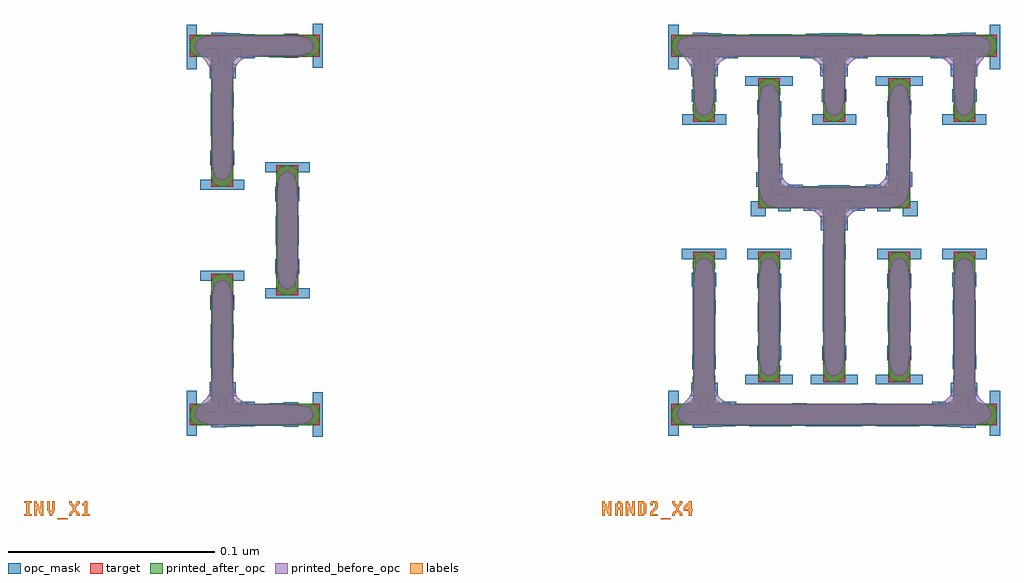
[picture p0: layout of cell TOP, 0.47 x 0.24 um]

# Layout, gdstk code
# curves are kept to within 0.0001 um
import gdstk
lib = gdstk.Library(unit=1e-6, precision=1e-10)
def R(c, l, rs):  # rectangles x0, y0, x1, y1
    for r in rs: c.add(gdstk.rectangle(r[:2], r[2:], *l))
def P(c, l, *ps):  # polygons
    for p in ps: c.add(gdstk.Polygon(p, *l))
target = (1, 0)
opc_mask = (2, 0)
printed_before_opc = (3, 0)
printed_after_opc = (4, 0)
labels = (10, 0)

inv_x1 = lib.new_cell('INV_X1')
R(inv_x1, target, [(0.042,0.063,0.0525,0.126)])
P(inv_x1, target, [(0.021,0.1785),(0.063,0.1785),(0.063,0.189),(0,0.189),(0,0.1785),(0.0105,0.1785),(0.0105,0.1155),(0.021,0.1155)],
  [(0.063,0.0105),(0.021,0.0105),(0.021,0.0735),(0.0105,0.0735),(0.0105,0.0105),(0,0.0105),(0,0),(0.063,0)])
P(inv_x1, opc_mask, [(0.0265,0.119),(0.0201,0.119),(0.0201,0.126),(0.0216,0.126),(0.0216,0.133),(0.0211,0.133),(0.0211,0.14),(0.0213,0.14),(0.0213,0.147),(0.0212,0.147),(0.0212,0.154),(0.0214,0.154),(0.0214,0.161),(0.0209,0.161),(0.0209,0.168),(0.0222,0.168),(0.0222,0.175),(0.0179,0.175),(0.0179,0.182),(0.0245,0.182),(0.0245,0.1776),(0.0315,0.1776),(0.0315,0.1785),(0.0385,0.1785),(0.0385,0.1783),(0.0455,0.1783),(0.0455,0.1779),(0.0525,0.1779),(0.0525,0.1794),(0.0595,0.1794),(0.0595,0.173),(0.0644,0.173),(0.0644,0.1945),(0.0595,0.1945),(0.0595,0.1881),(0.0525,0.1881),(0.0525,0.1896),(0.0455,0.1896),(0.0455,0.1891),(0.0385,0.1891),(0.0385,0.1892),(0.0315,0.1892),(0.0315,0.1893),(0.0245,0.1893),(0.0245,0.1897),(0.0175,0.1897),(0.0175,0.19),(0.0105,0.19),(0.0105,0.1886),(0.0035,0.1886),(0.0035,0.194),(-0.0015,0.194),(-0.0015,0.1723),(0.0035,0.1723),(0.0035,0.1794),(0.007,0.1794),(0.007,0.182),(0.0137,0.182),(0.0137,0.175),(0.0097,0.175),(0.0097,0.168),(0.0105,0.168),(0.0105,0.161),(0.0102,0.161),(0.0102,0.154),(0.0103,0.154),(0.0103,0.147),(0.0102,0.147),(0.0102,0.14),(0.0104,0.14),(0.0104,0.133),(0.0099,0.133),(0.0099,0.126),(0.0114,0.126),(0.0114,0.119),(0.005,0.119),(0.005,0.1141),(0.0265,0.1141)],
  [(0.058,0.0665),(0.0516,0.0665),(0.0516,0.0735),(0.0531,0.0735),(0.0531,0.0805),(0.0526,0.0805),(0.0526,0.0875),(0.0528,0.0875),(0.0528,0.1015),(0.0526,0.1015),(0.0526,0.1085),(0.0531,0.1085),(0.0531,0.1155),(0.0516,0.1155),(0.0516,0.1225),(0.058,0.1225),(0.058,0.1274),(0.0365,0.1274),(0.0365,0.1225),(0.0429,0.1225),(0.0429,0.1155),(0.0414,0.1155),(0.0414,0.1085),(0.0419,0.1085),(0.0419,0.1015),(0.0417,0.1015),(0.0417,0.0875),(0.0419,0.0875),(0.0419,0.0805),(0.0414,0.0805),(0.0414,0.0735),(0.0429,0.0735),(0.0429,0.0665),(0.0365,0.0665),(0.0365,0.0616),(0.058,0.0616)],
  [(0.0644,0.016),(0.0595,0.016),(0.0595,0.0096),(0.0525,0.0096),(0.0525,0.0111),(0.0455,0.0111),(0.0455,0.0107),(0.0385,0.0107),(0.0385,0.0105),(0.0315,0.0105),(0.0315,0.0114),(0.0245,0.0114),(0.0245,0.007),(0.0179,0.007),(0.0179,0.014),(0.0222,0.014),(0.0222,0.021),(0.0209,0.021),(0.0209,0.028),(0.0214,0.028),(0.0214,0.035),(0.0212,0.035),(0.0212,0.042),(0.0213,0.042),(0.0213,0.049),(0.0211,0.049),(0.0211,0.056),(0.0216,0.056),(0.0216,0.063),(0.0201,0.063),(0.0201,0.07),(0.0265,0.07),(0.0265,0.0749),(0.005,0.0749),(0.005,0.07),(0.0114,0.07),(0.0114,0.063),(0.0099,0.063),(0.0099,0.056),(0.0104,0.056),(0.0104,0.049),(0.0102,0.049),(0.0102,0.042),(0.0103,0.042),(0.0103,0.035),(0.0102,0.035),(0.0102,0.028),(0.0105,0.028),(0.0105,0.021),(0.0097,0.021),(0.0097,0.014),(0.0137,0.014),(0.0137,0.007),(0.007,0.007),(0.007,0.0096),(0.0035,0.0096),(0.0035,0.0167),(-0.0015,0.0167),(-0.0015,-0.005),(0.0035,-0.005),(0.0035,0.0004),(0.0105,0.0004),(0.0105,-0.001),(0.0175,-0.001),(0.0175,-0.0007),(0.0245,-0.0007),(0.0245,-0.0003),(0.0315,-0.0003),(0.0315,-0.0002),(0.0385,-0.0002),(0.0385,-0.0001),(0.0455,-0.0001),(0.0455,-0.0006),(0.0525,-0.0006),(0.0525,0.0009),(0.0595,0.0009),(0.0595,-0.0055),(0.0644,-0.0055)])
P(inv_x1, printed_before_opc, [(0.0172,0.1189),(0.0182,0.1196),(0.0192,0.1208),(0.0197,0.1219),(0.0204,0.1247),(0.0207,0.1302),(0.0208,0.1672),(0.021,0.1697),(0.022,0.1732),(0.0237,0.1757),(0.0257,0.1773),(0.0277,0.1781),(0.0297,0.1785),(0.0342,0.1788),(0.0532,0.179),(0.0567,0.1798),(0.0577,0.1802),(0.0589,0.1812),(0.0593,0.1817),(0.0599,0.1832),(0.0598,0.1847),(0.0593,0.1857),(0.0587,0.1864),(0.0577,0.1872),(0.0557,0.188),(0.0517,0.1886),(0.0142,0.1889),(0.0107,0.1887),(0.0072,0.1882),(0.0051,0.1872),(0.0044,0.1867),(0.0032,0.1852),(0.0028,0.1837),(0.0029,0.1827),(0.0034,0.1812),(0.0045,0.1797),(0.0072,0.1769),(0.0085,0.1752),(0.0096,0.1732),(0.0103,0.1707),(0.0108,0.1647),(0.0108,0.1312),(0.011,0.1257),(0.0115,0.1227),(0.0123,0.1207),(0.0136,0.1192),(0.0152,0.1186),(0.0162,0.1186)],
  [(0.0482,0.0662),(0.0497,0.0671),(0.051,0.0687),(0.0515,0.0702),(0.052,0.0737),(0.0522,0.0767),(0.0522,0.1097),(0.052,0.1157),(0.0512,0.1197),(0.0502,0.1214),(0.0492,0.1223),(0.0482,0.1228),(0.0467,0.1229),(0.0457,0.1226),(0.0447,0.1219),(0.0437,0.1207),(0.0431,0.1192),(0.0425,0.1152),(0.0423,0.1122),(0.0423,0.0787),(0.0425,0.0727),(0.0431,0.0697),(0.0435,0.0687),(0.0441,0.0677),(0.0457,0.0664),(0.0472,0.066)],
  [(0.0297,0.0003),(0.0507,0.0004),(0.0547,0.0008),(0.0566,0.0012),(0.0584,0.0022),(0.0596,0.0037),(0.0599,0.0047),(0.0599,0.0057),(0.0596,0.0067),(0.0584,0.0082),(0.0566,0.0092),(0.0552,0.0096),(0.0512,0.0101),(0.0342,0.0102),(0.0292,0.0106),(0.0272,0.0111),(0.0252,0.012),(0.0242,0.0127),(0.0232,0.0137),(0.0225,0.0147),(0.0213,0.0177),(0.0208,0.0222),(0.0207,0.0582),(0.0205,0.0637),(0.0197,0.0672),(0.0187,0.0689),(0.0177,0.0698),(0.0167,0.0703),(0.0157,0.0705),(0.0147,0.0703),(0.0132,0.0694),(0.012,0.0677),(0.0116,0.0667),(0.011,0.0627),(0.0108,0.0597),(0.0108,0.0257),(0.0107,0.0222),(0.0103,0.0182),(0.0094,0.0152),(0.0082,0.0132),(0.0074,0.0122),(0.0042,0.009),(0.0037,0.0082),(0.0029,0.0062),(0.0028,0.0052),(0.003,0.0042),(0.0035,0.0032),(0.0042,0.0024),(0.0051,0.0017),(0.0072,0.0008),(0.0097,0.0004),(0.0137,0.0001)])
P(inv_x1, printed_after_opc, [(0.0167,0.1156),(0.0188,0.1162),(0.0195,0.1167),(0.0202,0.1176),(0.0207,0.1186),(0.021,0.1197),(0.0211,0.1212),(0.0209,0.1262),(0.0211,0.1682),(0.0209,0.1737),(0.0211,0.1752),(0.0217,0.1767),(0.0222,0.1773),(0.0232,0.1779),(0.0262,0.1785),(0.0522,0.1786),(0.0577,0.1784),(0.0597,0.1787),(0.0607,0.1791),(0.0617,0.18),(0.0622,0.1807),(0.0628,0.1822),(0.063,0.1837),(0.0625,0.1862),(0.0617,0.1875),(0.0607,0.1884),(0.0597,0.1888),(0.0577,0.1891),(0.0522,0.1889),(0.0172,0.1891),(0.0107,0.1889),(0.0052,0.1891),(0.0037,0.189),(0.0027,0.1887),(0.0017,0.1881),(0.001,0.1872),(0.0003,0.1857),(0,0.1837),(0.0003,0.1817),(0.0012,0.18),(0.0017,0.1795),(0.0032,0.1787),(0.0072,0.1782),(0.0087,0.1778),(0.0099,0.1767),(0.0105,0.1752),(0.0106,0.1737),(0.0104,0.1687),(0.0106,0.1262),(0.0104,0.1207),(0.0109,0.1182),(0.0115,0.1172),(0.0122,0.1165),(0.0137,0.1158),(0.0152,0.1155)],
  [(0.0482,0.0631),(0.0503,0.0637),(0.0512,0.0644),(0.0519,0.0652),(0.0525,0.0672),(0.0526,0.0682),(0.0524,0.0737),(0.0524,0.1152),(0.0526,0.1212),(0.0519,0.1237),(0.051,0.1247),(0.0497,0.1255),(0.0477,0.126),(0.0462,0.1259),(0.0447,0.1255),(0.0437,0.125),(0.0424,0.1232),(0.0419,0.1207),(0.0421,0.1152),(0.0421,0.0737),(0.0419,0.0677),(0.0424,0.0657),(0.0427,0.0651),(0.0435,0.0642),(0.0442,0.0637),(0.0452,0.0633),(0.0472,0.063)],
  [(0.0107,0.0001),(0.0172,-0.0001),(0.0522,0.0001),(0.0577,-0.0001),(0.0599,0.0002),(0.0612,0.001),(0.0625,0.0027),(0.0629,0.0042),(0.063,0.0057),(0.0627,0.0072),(0.0623,0.0082),(0.062,0.0087),(0.0609,0.0097),(0.0597,0.0103),(0.0577,0.0106),(0.0522,0.0104),(0.0257,0.0105),(0.0229,0.0112),(0.0222,0.0117),(0.0214,0.0127),(0.0209,0.0152),(0.0211,0.0207),(0.0209,0.0627),(0.0211,0.0687),(0.0204,0.0712),(0.0195,0.0722),(0.0182,0.073),(0.0162,0.0735),(0.0137,0.0732),(0.0117,0.072),(0.0111,0.0712),(0.0105,0.0692),(0.0104,0.0677),(0.0106,0.0627),(0.0104,0.0202),(0.0106,0.0142),(0.0104,0.0132),(0.0097,0.012),(0.0087,0.0112),(0.0072,0.0108),(0.0032,0.0103),(0.0017,0.0095),(0.0012,0.009),(0.0005,0.0077),(0,0.0057),(0.0001,0.0037),(0.0004,0.0027),(0.0012,0.0014),(0.0017,0.0009),(0.0027,0.0003),(0.0037,0),(0.0052,-0.0001)])

nand2_x4 = lib.new_cell('NAND2_X4')
R(nand2_x4, target, [(0.042,0.021,0.0525,0.084), (0.105,0.021,0.1155,0.084)])
P(nand2_x4, target, [(0.021,0.1785),(0.0735,0.1785),(0.0735,0.147),(0.084,0.147),(0.084,0.1785),(0.1365,0.1785),(0.1365,0.147),(0.147,0.147),(0.147,0.1785),(0.1575,0.1785),(0.1575,0.189),(0,0.189),(0,0.1785),(0.0105,0.1785),(0.0105,0.147),(0.021,0.147)],
  [(0.084,0.105),(0.1155,0.105),(0.1155,0.168),(0.105,0.168),(0.105,0.1155),(0.0525,0.1155),(0.0525,0.168),(0.042,0.168),(0.042,0.105),(0.0735,0.105),(0.0735,0.021),(0.084,0.021)],
  [(0.1575,0.0105),(0.147,0.0105),(0.147,0.084),(0.1365,0.084),(0.1365,0.0105),(0.021,0.0105),(0.021,0.084),(0.0105,0.084),(0.0105,0.0105),(0,0.0105),(0,0),(0.1575,0)])
P(nand2_x4, opc_mask, [(0.0264,0.1505),(0.02,0.1505),(0.02,0.1566),(0.0217,0.1566),(0.0217,0.1627),(0.0208,0.1627),(0.0208,0.1689),(0.0224,0.1689),(0.0224,0.175),(0.0179,0.175),(0.0179,0.182),(0.0245,0.182),(0.0245,0.1776),(0.0321,0.1776),(0.0321,0.1786),(0.0397,0.1786),(0.0397,0.1787),(0.0472,0.1787),(0.0472,0.1787),(0.0548,0.1787),(0.0548,0.1786),(0.0624,0.1786),(0.0624,0.1776),(0.07,0.1776),(0.07,0.182),(0.0767,0.182),(0.0767,0.175),(0.0721,0.175),(0.0721,0.1689),(0.0737,0.1689),(0.0737,0.1627),(0.0728,0.1627),(0.0728,0.1566),(0.0745,0.1566),(0.0745,0.1505),(0.0681,0.1505),(0.0681,0.1455),(0.0894,0.1455),(0.0894,0.1505),(0.083,0.1505),(0.083,0.1566),(0.0847,0.1566),(0.0847,0.1627),(0.0838,0.1627),(0.0838,0.1689),(0.0854,0.1689),(0.0854,0.175),(0.0808,0.175),(0.0808,0.182),(0.0875,0.182),(0.0875,0.1776),(0.0951,0.1776),(0.0951,0.1786),(0.1027,0.1786),(0.1027,0.1787),(0.1102,0.1787),(0.1102,0.1787),(0.1178,0.1787),(0.1178,0.1786),(0.1254,0.1786),(0.1254,0.1776),(0.133,0.1776),(0.133,0.182),(0.1396,0.182),(0.1396,0.175),(0.1351,0.175),(0.1351,0.1689),(0.1367,0.1689),(0.1367,0.1627),(0.1358,0.1627),(0.1358,0.1566),(0.1375,0.1566),(0.1375,0.1505),(0.1311,0.1505),(0.1311,0.1455),(0.1524,0.1455),(0.1524,0.1505),(0.146,0.1505),(0.146,0.1566),(0.1477,0.1566),(0.1477,0.1627),(0.1468,0.1627),(0.1468,0.1689),(0.148,0.1689),(0.148,0.175),(0.1438,0.175),(0.1438,0.182),(0.1505,0.182),(0.1505,0.1794),(0.154,0.1794),(0.154,0.1723),(0.159,0.1723),(0.159,0.194),(0.154,0.194),(0.154,0.1886),(0.1472,0.1886),(0.1472,0.1901),(0.1403,0.1901),(0.1403,0.1897),(0.1335,0.1897),(0.1335,0.1894),(0.1266,0.1894),(0.1266,0.1892),(0.1198,0.1892),(0.1198,0.1893),(0.113,0.1893),(0.113,0.1893),(0.1061,0.1893),(0.1061,0.1893),(0.0993,0.1893),(0.0993,0.1891),(0.0924,0.1891),(0.0924,0.1896),(0.0856,0.1896),(0.0856,0.1897),(0.0719,0.1897),(0.0719,0.1896),(0.0651,0.1896),(0.0651,0.1891),(0.0582,0.1891),(0.0582,0.1893),(0.0514,0.1893),(0.0514,0.1893),(0.0445,0.1893),(0.0445,0.1893),(0.0377,0.1893),(0.0377,0.1892),(0.0309,0.1892),(0.0309,0.1894),(0.024,0.1894),(0.024,0.1897),(0.0172,0.1897),(0.0172,0.1901),(0.0103,0.1901),(0.0103,0.1886),(0.0035,0.1886),(0.0035,0.194),(-0.0015,0.194),(-0.0015,0.1723),(0.0035,0.1723),(0.0035,0.1794),(0.007,0.1794),(0.007,0.182),(0.0137,0.182),(0.0137,0.175),(0.0095,0.175),(0.0095,0.1689),(0.0107,0.1689),(0.0107,0.1627),(0.0098,0.1627),(0.0098,0.1566),(0.0115,0.1566),(0.0115,0.1505),(0.0051,0.1505),(0.0051,0.1455),(0.0264,0.1455)],
  [(0.0902,0.0245),(0.0831,0.0245),(0.0831,0.0315),(0.0846,0.0315),(0.0846,0.0385),(0.0841,0.0385),(0.0841,0.0455),(0.0843,0.0455),(0.0843,0.0525),(0.0842,0.0525),(0.0842,0.0595),(0.0842,0.0595),(0.0842,0.0665),(0.0842,0.0665),(0.0842,0.0735),(0.0842,0.0735),(0.0842,0.0805),(0.0844,0.0805),(0.0844,0.0875),(0.0839,0.0875),(0.0839,0.0945),(0.0852,0.0945),(0.0852,0.1015),(0.0808,0.1015),(0.0808,0.1085),(0.0875,0.1085),(0.0875,0.1039),(0.0936,0.1039),(0.0936,0.1052),(0.0997,0.1052),(0.0997,0.1036),(0.1059,0.1036),(0.1059,0.1056),(0.112,0.1056),(0.112,0.1013),(0.1192,0.1013),(0.1192,0.1085),(0.1152,0.1085),(0.1152,0.1155),(0.1166,0.1155),(0.1166,0.1225),(0.1154,0.1225),(0.1154,0.1295),(0.1158,0.1295),(0.1158,0.1365),(0.1157,0.1365),(0.1157,0.1435),(0.1156,0.1435),(0.1156,0.1505),(0.1161,0.1505),(0.1161,0.1575),(0.1146,0.1575),(0.1146,0.1645),(0.1217,0.1645),(0.1217,0.1691),(0.0989,0.1691),(0.0989,0.1645),(0.1057,0.1645),(0.1057,0.1569),(0.1044,0.1569),(0.1044,0.1493),(0.1049,0.1493),(0.1049,0.1417),(0.1046,0.1417),(0.1046,0.1342),(0.105,0.1342),(0.105,0.1266),(0.104,0.1266),(0.104,0.119),(0.1085,0.119),(0.1085,0.112),(0.1015,0.112),(0.1015,0.1164),(0.0939,0.1164),(0.0939,0.1157),(0.0863,0.1157),(0.0863,0.1163),(0.0712,0.1163),(0.0712,0.1157),(0.0636,0.1157),(0.0636,0.1164),(0.056,0.1164),(0.056,0.112),(0.049,0.112),(0.049,0.119),(0.0535,0.119),(0.0535,0.1266),(0.0525,0.1266),(0.0525,0.1342),(0.0529,0.1342),(0.0529,0.1417),(0.0526,0.1417),(0.0526,0.1493),(0.0531,0.1493),(0.0531,0.1569),(0.0518,0.1569),(0.0518,0.1645),(0.0586,0.1645),(0.0586,0.1691),(0.0358,0.1691),(0.0358,0.1645),(0.0429,0.1645),(0.0429,0.1575),(0.0414,0.1575),(0.0414,0.1505),(0.0419,0.1505),(0.0419,0.1435),(0.0418,0.1435),(0.0418,0.1365),(0.0417,0.1365),(0.0417,0.1295),(0.0421,0.1295),(0.0421,0.1225),(0.0409,0.1225),(0.0409,0.1155),(0.0423,0.1155),(0.0423,0.1085),(0.0383,0.1085),(0.0383,0.1013),(0.0455,0.1013),(0.0455,0.1056),(0.0516,0.1056),(0.0516,0.1036),(0.0577,0.1036),(0.0577,0.1052),(0.0639,0.1052),(0.0639,0.1039),(0.07,0.1039),(0.07,0.1085),(0.0767,0.1085),(0.0767,0.1015),(0.0723,0.1015),(0.0723,0.0945),(0.0736,0.0945),(0.0736,0.0875),(0.0731,0.0875),(0.0731,0.0805),(0.0733,0.0805),(0.0733,0.0735),(0.0733,0.0735),(0.0733,0.0665),(0.0733,0.0665),(0.0733,0.0595),(0.0733,0.0595),(0.0733,0.0525),(0.0732,0.0525),(0.0732,0.0455),(0.0734,0.0455),(0.0734,0.0385),(0.0729,0.0385),(0.0729,0.0315),(0.0744,0.0315),(0.0744,0.0245),(0.0673,0.0245),(0.0673,0.0199),(0.0902,0.0199)],
  [(0.0035,0.0005),(0.0103,0.0005),(0.0103,-0.0011),(0.0172,-0.0011),(0.0172,-0.0007),(0.024,-0.0007),(0.024,-0.0004),(0.0309,-0.0004),(0.0309,-0.0002),(0.0377,-0.0002),(0.0377,-0.0003),(0.0445,-0.0003),(0.0445,-0.0003),(0.0514,-0.0003),(0.0514,-0.0003),(0.0582,-0.0003),(0.0582,-0.0002),(0.0651,-0.0002),(0.0651,-0.0003),(0.0719,-0.0003),(0.0719,-0.0003),(0.0856,-0.0003),(0.0856,-0.0003),(0.0924,-0.0003),(0.0924,-0.0002),(0.0993,-0.0002),(0.0993,-0.0003),(0.1061,-0.0003),(0.1061,-0.0003),(0.113,-0.0003),(0.113,-0.0003),(0.1198,-0.0003),(0.1198,-0.0002),(0.1266,-0.0002),(0.1266,-0.0004),(0.1335,-0.0004),(0.1335,-0.0007),(0.1403,-0.0007),(0.1403,-0.0011),(0.1472,-0.0011),(0.1472,0.0005),(0.154,0.0005),(0.154,-0.005),(0.159,-0.005),(0.159,0.0167),(0.154,0.0167),(0.154,0.0096),(0.1505,0.0096),(0.1505,0.007),(0.1438,0.007),(0.1438,0.014),(0.1479,0.014),(0.1479,0.0206),(0.1469,0.0206),(0.1469,0.0273),(0.1474,0.0273),(0.1474,0.0339),(0.1472,0.0339),(0.1472,0.0406),(0.1472,0.0406),(0.1472,0.0472),(0.1472,0.0472),(0.1472,0.0539),(0.1473,0.0539),(0.1473,0.0606),(0.1471,0.0606),(0.1471,0.0672),(0.1476,0.0672),(0.1476,0.0739),(0.1461,0.0739),(0.1461,0.0805),(0.1525,0.0805),(0.1525,0.0854),(0.131,0.0854),(0.131,0.0805),(0.1374,0.0805),(0.1374,0.0739),(0.1359,0.0739),(0.1359,0.0672),(0.1364,0.0672),(0.1364,0.0606),(0.1362,0.0606),(0.1362,0.0539),(0.1363,0.0539),(0.1363,0.0472),(0.1363,0.0472),(0.1363,0.0406),(0.1363,0.0406),(0.1363,0.0339),(0.1361,0.0339),(0.1361,0.0273),(0.1366,0.0273),(0.1366,0.0206),(0.1352,0.0206),(0.1352,0.014),(0.1396,0.014),(0.1396,0.007),(0.133,0.007),(0.133,0.0115),(0.1262,0.0115),(0.1262,0.0104),(0.1194,0.0104),(0.1194,0.0104),(0.1127,0.0104),(0.1127,0.0103),(0.1059,0.0103),(0.1059,0.0104),(0.0991,0.0104),(0.0991,0.0107),(0.0923,0.0107),(0.0923,0.0105),(0.0855,0.0105),(0.0855,0.0103),(0.072,0.0103),(0.072,0.0105),(0.0652,0.0105),(0.0652,0.0107),(0.0584,0.0107),(0.0584,0.0104),(0.0516,0.0104),(0.0516,0.0103),(0.0448,0.0103),(0.0448,0.0104),(0.0381,0.0104),(0.0381,0.0104),(0.0313,0.0104),(0.0313,0.0115),(0.0245,0.0115),(0.0245,0.007),(0.0179,0.007),(0.0179,0.014),(0.0223,0.014),(0.0223,0.0206),(0.0209,0.0206),(0.0209,0.0273),(0.0214,0.0273),(0.0214,0.0339),(0.0212,0.0339),(0.0212,0.0406),(0.0212,0.0406),(0.0212,0.0472),(0.0212,0.0472),(0.0212,0.0539),(0.0213,0.0539),(0.0213,0.0606),(0.0211,0.0606),(0.0211,0.0672),(0.0216,0.0672),(0.0216,0.0739),(0.0201,0.0739),(0.0201,0.0805),(0.0265,0.0805),(0.0265,0.0854),(0.005,0.0854),(0.005,0.0805),(0.0114,0.0805),(0.0114,0.0739),(0.0099,0.0739),(0.0099,0.0672),(0.0104,0.0672),(0.0104,0.0606),(0.0102,0.0606),(0.0102,0.0539),(0.0103,0.0539),(0.0103,0.0472),(0.0103,0.0472),(0.0103,0.0406),(0.0103,0.0406),(0.0103,0.0339),(0.0101,0.0339),(0.0101,0.0273),(0.0106,0.0273),(0.0106,0.0206),(0.0096,0.0206),(0.0096,0.014),(0.0137,0.014),(0.0137,0.007),(0.007,0.007),(0.007,0.0096),(0.0035,0.0096),(0.0035,0.0167),(-0.0015,0.0167),(-0.0015,-0.005),(0.0035,-0.005)],
  [(0.1217,0.0245),(0.1146,0.0245),(0.1146,0.0315),(0.1161,0.0315),(0.1161,0.0385),(0.1156,0.0385),(0.1156,0.0455),(0.1158,0.0455),(0.1158,0.0525),(0.1158,0.0525),(0.1158,0.0595),(0.1156,0.0595),(0.1156,0.0665),(0.1161,0.0665),(0.1161,0.0735),(0.1146,0.0735),(0.1146,0.0805),(0.1209,0.0805),(0.1209,0.0854),(0.0995,0.0854),(0.0995,0.0805),(0.1059,0.0805),(0.1059,0.0735),(0.1044,0.0735),(0.1044,0.0665),(0.1049,0.0665),(0.1049,0.0595),(0.1047,0.0595),(0.1047,0.0525),(0.1047,0.0525),(0.1047,0.0455),(0.1049,0.0455),(0.1049,0.0385),(0.1044,0.0385),(0.1044,0.0315),(0.1059,0.0315),(0.1059,0.0245),(0.0988,0.0245),(0.0988,0.0199),(0.1217,0.0199)],
  [(0.0587,0.0245),(0.0516,0.0245),(0.0516,0.0315),(0.0531,0.0315),(0.0531,0.0385),(0.0526,0.0385),(0.0526,0.0455),(0.0528,0.0455),(0.0528,0.0525),(0.0528,0.0525),(0.0528,0.0595),(0.0526,0.0595),(0.0526,0.0665),(0.0531,0.0665),(0.0531,0.0735),(0.0516,0.0735),(0.0516,0.0805),(0.058,0.0805),(0.058,0.0854),(0.0366,0.0854),(0.0366,0.0805),(0.0429,0.0805),(0.0429,0.0735),(0.0414,0.0735),(0.0414,0.0665),(0.0419,0.0665),(0.0419,0.0595),(0.0417,0.0595),(0.0417,0.0525),(0.0417,0.0525),(0.0417,0.0455),(0.0419,0.0455),(0.0419,0.0385),(0.0414,0.0385),(0.0414,0.0315),(0.0429,0.0315),(0.0429,0.0245),(0.0358,0.0245),(0.0358,0.0199),(0.0587,0.0199)])
P(nand2_x4, printed_before_opc, [(0.1427,0.1502),(0.1432,0.1504),(0.1447,0.1516),(0.1457,0.1532),(0.146,0.1542),(0.1466,0.1582),(0.1469,0.1687),(0.1473,0.1712),(0.1479,0.1732),(0.1497,0.1762),(0.1538,0.1807),(0.1543,0.1817),(0.1547,0.1832),(0.1546,0.1842),(0.1542,0.1853),(0.1536,0.1862),(0.1524,0.1872),(0.1512,0.1878),(0.1497,0.1883),(0.1462,0.1888),(0.1407,0.1889),(0.1267,0.1887),(0.0957,0.1887),(0.0787,0.1889),(0.0642,0.1887),(0.0277,0.1887),(0.0172,0.1889),(0.0127,0.1888),(0.0102,0.1887),(0.0067,0.188),(0.0052,0.1873),(0.0042,0.1866),(0.0035,0.1857),(0.003,0.1847),(0.0028,0.1832),(0.0032,0.1817),(0.0037,0.1807),(0.0082,0.1757),(0.0098,0.1727),(0.0106,0.1687),(0.0109,0.1582),(0.0114,0.1547),(0.0118,0.1532),(0.0126,0.1517),(0.0136,0.1507),(0.0147,0.1502),(0.0162,0.1501),(0.0172,0.1504),(0.0184,0.1512),(0.0189,0.1517),(0.0195,0.1527),(0.0199,0.1537),(0.0205,0.1567),(0.0208,0.1677),(0.0211,0.1702),(0.0216,0.1722),(0.0225,0.1742),(0.0237,0.1758),(0.0247,0.1767),(0.0277,0.1781),(0.0302,0.1785),(0.0337,0.1787),(0.0607,0.1787),(0.0652,0.1784),(0.0672,0.1779),(0.0687,0.1773),(0.0703,0.1762),(0.0716,0.1747),(0.0725,0.1732),(0.0732,0.1712),(0.0737,0.1672),(0.074,0.1572),(0.0747,0.1534),(0.0753,0.1522),(0.0762,0.1511),(0.0772,0.1504),(0.0787,0.15),(0.0802,0.1504),(0.0812,0.1511),(0.0822,0.1522),(0.0829,0.1537),(0.0835,0.1572),(0.0838,0.1672),(0.0842,0.1707),(0.0848,0.1727),(0.0855,0.1742),(0.0862,0.1752),(0.0879,0.1767),(0.0892,0.1775),(0.0907,0.1781),(0.0947,0.1787),(0.0992,0.1788),(0.1107,0.1786),(0.1222,0.1788),(0.1252,0.1787),(0.1287,0.1783),(0.1302,0.1779),(0.1317,0.1773),(0.1327,0.1767),(0.1338,0.1757),(0.1347,0.1746),(0.1355,0.1732),(0.1363,0.1707),(0.1367,0.1662),(0.137,0.1577),(0.1372,0.1557),(0.1378,0.1532),(0.1387,0.1516),(0.1402,0.1504),(0.1417,0.15)],
  [(0.0797,0.0241),(0.0812,0.025),(0.0822,0.0263),(0.0829,0.0277),(0.0835,0.0307),(0.0837,0.0372),(0.0837,0.0917),(0.084,0.0962),(0.0845,0.0982),(0.085,0.0997),(0.0859,0.1012),(0.0872,0.1028),(0.0882,0.1035),(0.0902,0.1044),(0.0912,0.1047),(0.0952,0.1052),(0.1037,0.1053),(0.1062,0.1054),(0.1082,0.1057),(0.1102,0.1062),(0.1117,0.1071),(0.113,0.1082),(0.114,0.1097),(0.1147,0.1117),(0.1151,0.1142),(0.1153,0.1172),(0.1152,0.1522),(0.1149,0.1587),(0.1144,0.1612),(0.1134,0.1632),(0.1127,0.164),(0.1112,0.1649),(0.1102,0.1651),(0.1092,0.1649),(0.1077,0.164),(0.1065,0.1622),(0.106,0.1607),(0.1054,0.1567),(0.1053,0.1537),(0.1052,0.1277),(0.105,0.1242),(0.1047,0.1227),(0.1038,0.1202),(0.1028,0.1187),(0.1018,0.1177),(0.0992,0.1163),(0.0977,0.1158),(0.0942,0.1153),(0.0632,0.1153),(0.0607,0.1156),(0.0587,0.1161),(0.0572,0.1167),(0.0557,0.1177),(0.0543,0.1192),(0.0535,0.1207),(0.0528,0.1227),(0.0524,0.1252),(0.0522,0.1302),(0.0521,0.1552),(0.0519,0.1587),(0.0514,0.1612),(0.0507,0.1627),(0.0502,0.1634),(0.0495,0.1642),(0.0487,0.1647),(0.0477,0.165),(0.0467,0.165),(0.0452,0.1644),(0.0447,0.164),(0.0435,0.1622),(0.0431,0.1612),(0.0425,0.1577),(0.0423,0.1537),(0.0422,0.1172),(0.0423,0.1147),(0.0429,0.1112),(0.0435,0.1097),(0.0445,0.1082),(0.0463,0.1067),(0.0472,0.1063),(0.0489,0.1057),(0.0507,0.1054),(0.0602,0.1053),(0.0657,0.1048),(0.0677,0.1042),(0.0697,0.1032),(0.0712,0.1018),(0.072,0.1007),(0.0725,0.0997),(0.0732,0.0977),(0.0735,0.0962),(0.0738,0.0907),(0.0739,0.0322),(0.0746,0.0277),(0.0756,0.0257),(0.0767,0.0246),(0.0777,0.0241),(0.0787,0.0239)],
  [(0.1462,0.0002),(0.1487,0.0005),(0.1507,0.001),(0.1531,0.0022),(0.1543,0.0037),(0.1547,0.0057),(0.1541,0.0077),(0.1534,0.0087),(0.1493,0.0132),(0.1481,0.0152),(0.1472,0.0182),(0.1468,0.0222),(0.1467,0.0257),(0.1467,0.0672),(0.1465,0.0732),(0.1464,0.0747),(0.1459,0.0772),(0.1449,0.0792),(0.1437,0.0803),(0.1427,0.0808),(0.1417,0.081),(0.1407,0.0808),(0.1392,0.0799),(0.1382,0.0787),(0.1376,0.0772),(0.137,0.0742),(0.1368,0.0682),(0.1368,0.0242),(0.1364,0.0187),(0.1357,0.0162),(0.1353,0.0152),(0.1343,0.0137),(0.1332,0.0127),(0.1317,0.0117),(0.1302,0.0111),(0.1282,0.0106),(0.1257,0.0103),(0.1222,0.0102),(0.1102,0.0104),(0.0952,0.0102),(0.0787,0.0104),(0.0642,0.0102),(0.0477,0.0104),(0.0337,0.0103),(0.0307,0.0104),(0.0287,0.0107),(0.0267,0.0113),(0.0252,0.012),(0.0237,0.0132),(0.0222,0.0152),(0.0213,0.0177),(0.021,0.0192),(0.0207,0.0232),(0.0207,0.0692),(0.0206,0.0727),(0.0203,0.0752),(0.0197,0.0777),(0.0192,0.0787),(0.0182,0.0799),(0.0172,0.0806),(0.0162,0.0809),(0.0152,0.0809),(0.0142,0.0806),(0.0132,0.0799),(0.0122,0.0787),(0.0112,0.0757),(0.0109,0.0727),(0.0108,0.0252),(0.0105,0.0192),(0.0094,0.0152),(0.0082,0.0132),(0.0074,0.0122),(0.0042,0.009),(0.0032,0.0074),(0.0028,0.0057),(0.0032,0.0037),(0.0037,0.0029),(0.0044,0.0022),(0.0052,0.0017),(0.0067,0.001),(0.0082,0.0006),(0.0117,0.0002),(0.0147,0.0001),(0.0307,0.0003),(0.1252,0.0003),(0.1427,0.0001)],
  [(0.1112,0.0241),(0.1127,0.025),(0.114,0.0267),(0.1145,0.0282),(0.115,0.0317),(0.1152,0.0347),(0.1152,0.0677),(0.115,0.0737),(0.1142,0.0777),(0.1132,0.0794),(0.1122,0.0803),(0.1112,0.0808),(0.1097,0.0809),(0.1087,0.0806),(0.1077,0.0799),(0.1067,0.0787),(0.1061,0.0772),(0.1055,0.0732),(0.1053,0.0702),(0.1053,0.0367),(0.1055,0.0307),(0.1061,0.0277),(0.1065,0.0267),(0.1077,0.025),(0.1087,0.0243),(0.1102,0.0239)],
  [(0.0482,0.0241),(0.0497,0.025),(0.051,0.0267),(0.0515,0.0282),(0.052,0.0317),(0.0522,0.0347),(0.0522,0.0677),(0.052,0.0737),(0.0512,0.0777),(0.0502,0.0794),(0.0492,0.0803),(0.0482,0.0808),(0.0467,0.0809),(0.0457,0.0806),(0.0447,0.0799),(0.0437,0.0787),(0.0431,0.0772),(0.0425,0.0732),(0.0423,0.0702),(0.0423,0.0367),(0.0425,0.0307),(0.0431,0.0277),(0.0435,0.0267),(0.0447,0.025),(0.0457,0.0243),(0.0472,0.0239)])
P(nand2_x4, printed_after_opc, [(0.1427,0.1471),(0.1447,0.1477),(0.1452,0.148),(0.1464,0.1492),(0.1471,0.1517),(0.1469,0.1577),(0.1471,0.1682),(0.1469,0.1742),(0.1473,0.1762),(0.148,0.1772),(0.1492,0.178),(0.1537,0.1786),(0.1547,0.1789),(0.1557,0.1795),(0.1564,0.1802),(0.1572,0.1817),(0.1575,0.1842),(0.1571,0.1862),(0.1561,0.1877),(0.1552,0.1884),(0.1542,0.1888),(0.1522,0.1891),(0.1467,0.1889),(0.1402,0.1891),(0.0172,0.1891),(0.0107,0.1889),(0.0047,0.1891),(0.0027,0.1887),(0.0012,0.1876),(0.0003,0.1857),(0,0.1837),(0.0002,0.1822),(0.0005,0.1812),(0.0017,0.1795),(0.0027,0.1789),(0.0037,0.1786),(0.0082,0.178),(0.0095,0.1772),(0.0102,0.1761),(0.0105,0.1752),(0.0106,0.1737),(0.0104,0.1687),(0.0106,0.1587),(0.0104,0.1527),(0.0105,0.1512),(0.0107,0.1502),(0.0115,0.1487),(0.0127,0.1477),(0.0139,0.1472),(0.0162,0.147),(0.0182,0.1475),(0.0192,0.148),(0.0204,0.1492),(0.0208,0.1502),(0.0211,0.1527),(0.0209,0.1582),(0.0211,0.1672),(0.0209,0.1732),(0.021,0.1747),(0.0212,0.1757),(0.0222,0.1772),(0.0232,0.1779),(0.0242,0.1782),(0.0257,0.1785),(0.0677,0.1785),(0.0692,0.1784),(0.0717,0.1777),(0.0728,0.1767),(0.0731,0.1762),(0.0736,0.1742),(0.0734,0.1677),(0.0736,0.1577),(0.0734,0.1517),(0.0737,0.1501),(0.0741,0.1492),(0.0752,0.148),(0.0767,0.1473),(0.0787,0.147),(0.0807,0.1473),(0.0822,0.148),(0.0834,0.1492),(0.0839,0.1507),(0.0841,0.1517),(0.0839,0.1577),(0.0841,0.1677),(0.0839,0.1742),(0.0844,0.1762),(0.0847,0.1767),(0.0857,0.1777),(0.0882,0.1784),(0.0897,0.1785),(0.1317,0.1785),(0.1342,0.1779),(0.1353,0.1772),(0.1363,0.1757),(0.1365,0.1747),(0.1366,0.1737),(0.1364,0.1677),(0.1366,0.1577),(0.1364,0.1517),(0.1367,0.1501),(0.1371,0.1492),(0.1382,0.148),(0.1387,0.1477),(0.1407,0.1471)],
  [(0.0797,0.0211),(0.0812,0.0215),(0.083,0.0227),(0.0836,0.0237),(0.0839,0.0247),(0.0841,0.0272),(0.0839,0.0317),(0.0841,0.0947),(0.0839,0.1002),(0.0841,0.1017),(0.0847,0.1032),(0.0859,0.1042),(0.0872,0.1048),(0.0887,0.105),(0.1047,0.1051),(0.1102,0.1049),(0.1129,0.1052),(0.1137,0.1056),(0.1149,0.1067),(0.1156,0.1092),(0.1154,0.1152),(0.1156,0.1222),(0.1154,0.1567),(0.1156,0.1617),(0.1152,0.1648),(0.1144,0.1662),(0.1132,0.1672),(0.1127,0.1675),(0.1107,0.168),(0.1092,0.1679),(0.1072,0.1673),(0.1057,0.1659),(0.1051,0.1642),(0.1049,0.1632),(0.1051,0.1567),(0.1049,0.1262),(0.105,0.1197),(0.1047,0.1182),(0.1042,0.1173),(0.1032,0.1162),(0.1022,0.1158),(0.1002,0.1155),(0.0577,0.1155),(0.0552,0.1158),(0.0543,0.1162),(0.0532,0.1173),(0.0528,0.1182),(0.0526,0.1192),(0.0524,0.1572),(0.0526,0.1632),(0.0524,0.1642),(0.0518,0.1657),(0.0512,0.1665),(0.0502,0.1673),(0.0492,0.1677),(0.0472,0.168),(0.0452,0.1677),(0.0437,0.1669),(0.0432,0.1665),(0.0427,0.1657),(0.0421,0.1642),(0.0419,0.1622),(0.0421,0.1572),(0.0419,0.1222),(0.0421,0.1152),(0.0419,0.1102),(0.0422,0.1077),(0.0426,0.1067),(0.043,0.1062),(0.0437,0.1056),(0.0447,0.1052),(0.0477,0.1049),(0.0527,0.1051),(0.0602,0.1049),(0.0687,0.105),(0.0697,0.1049),(0.0712,0.1044),(0.0722,0.1038),(0.0731,0.1027),(0.0736,0.1007),(0.0734,0.0947),(0.0736,0.0317),(0.0734,0.0262),(0.0737,0.0242),(0.0745,0.0227),(0.075,0.0222),(0.0757,0.0217),(0.0772,0.0212),(0.0782,0.021)],
  [(0.0482,0.0211),(0.0492,0.0213),(0.0512,0.0225),(0.0518,0.0232),(0.0522,0.0242),(0.0526,0.0262),(0.0524,0.0317),(0.0524,0.0732),(0.0526,0.0792),(0.0519,0.0817),(0.051,0.0827),(0.0497,0.0835),(0.0477,0.084),(0.0462,0.0839),(0.0447,0.0835),(0.0437,0.083),(0.0424,0.0812),(0.0419,0.0787),(0.0421,0.0732),(0.0421,0.0317),(0.0419,0.0272),(0.0421,0.0247),(0.0424,0.0237),(0.043,0.0227),(0.0435,0.0222),(0.0442,0.0217),(0.0452,0.0213),(0.0472,0.021)],
  [(0.1112,0.0211),(0.1133,0.0217),(0.1142,0.0225),(0.1148,0.0232),(0.1152,0.0242),(0.1156,0.0262),(0.1154,0.0317),(0.1154,0.0732),(0.1156,0.0792),(0.1149,0.0817),(0.114,0.0827),(0.1127,0.0835),(0.1107,0.084),(0.1092,0.0839),(0.1077,0.0835),(0.1067,0.083),(0.1054,0.0812),(0.1049,0.0787),(0.1051,0.0732),(0.1051,0.0317),(0.1049,0.0272),(0.1051,0.0247),(0.1054,0.0237),(0.106,0.0227),(0.1065,0.0222),(0.1082,0.0213),(0.1102,0.021)],
  [(0.1537,0),(0.1545,0.0002),(0.1561,0.0012),(0.1571,0.0027),(0.1575,0.0047),(0.1572,0.0072),(0.1562,0.009),(0.1552,0.0098),(0.1532,0.0105),(0.1502,0.0108),(0.1487,0.0112),(0.148,0.0117),(0.1476,0.0122),(0.1472,0.0129),(0.147,0.0137),(0.1469,0.0152),(0.1471,0.0202),(0.1469,0.0732),(0.1471,0.0792),(0.1464,0.0817),(0.1455,0.0827),(0.1448,0.0832),(0.1442,0.0835),(0.1422,0.084),(0.1397,0.0837),(0.1387,0.0833),(0.1372,0.0819),(0.1366,0.0802),(0.1364,0.0792),(0.1366,0.0732),(0.1364,0.0207),(0.1366,0.0147),(0.1361,0.0127),(0.1353,0.0117),(0.1337,0.0109),(0.1302,0.0105),(0.0272,0.0105),(0.0247,0.0107),(0.0237,0.0109),(0.0227,0.0114),(0.0222,0.0117),(0.0214,0.0127),(0.0209,0.0152),(0.0211,0.0207),(0.0209,0.0732),(0.0211,0.0782),(0.021,0.0797),(0.0207,0.0809),(0.0202,0.0819),(0.0195,0.0827),(0.0182,0.0835),(0.0167,0.0839),(0.0152,0.084),(0.0137,0.0837),(0.012,0.0827),(0.0115,0.0822),(0.0109,0.0812),(0.0104,0.0787),(0.0106,0.0732),(0.0104,0.0202),(0.0106,0.0152),(0.0105,0.0137),(0.0099,0.0122),(0.0095,0.0117),(0.0087,0.0112),(0.0072,0.0108),(0.0032,0.0103),(0.0017,0.0095),(0.0012,0.009),(0.0005,0.0077),(0.0002,0.0067),(0,0.0057),(0.0001,0.0037),(0.0004,0.0027),(0.0012,0.0014),(0.0017,0.0009),(0.0027,0.0003),(0.0037,0),(0.0052,-0.0001),(0.0107,0.0001),(0.0172,-0.0001),(0.1402,-0.0001),(0.1467,0.0001),(0.1522,-0.0001)])

top = lib.new_cell('TOP')
R(top, labels, [(-0.0954,-0.14,-0.0904,-0.1394), (0.1965,-0.14,0.2015,-0.1394)])
P(top, labels, [(-0.1116,-0.1375),(-0.1116,-0.1382),(-0.1079,-0.1382),(-0.1079,-0.1375),(-0.1091,-0.1375),(-0.1091,-0.1319),(-0.1079,-0.1319),(-0.1079,-0.1313),(-0.1116,-0.1313),(-0.1116,-0.1319),(-0.1104,-0.1319),(-0.1104,-0.1375)],
  [(-0.1054,-0.1382),(-0.1054,-0.135),(-0.1047,-0.135),(-0.1047,-0.1357),(-0.1041,-0.1357),(-0.1041,-0.1369),(-0.1035,-0.1369),(-0.1035,-0.1382),(-0.1022,-0.1382),(-0.1022,-0.1313),(-0.1035,-0.1313),(-0.1035,-0.1344),(-0.1041,-0.1344),(-0.1041,-0.1338),(-0.1047,-0.1338),(-0.1047,-0.1325),(-0.1054,-0.1325),(-0.1054,-0.1313),(-0.1066,-0.1313),(-0.1066,-0.1382)],
  [(-0.0997,-0.1357),(-0.0997,-0.1369),(-0.0991,-0.1369),(-0.0991,-0.1382),(-0.0979,-0.1382),(-0.0979,-0.1369),(-0.0972,-0.1369),(-0.0972,-0.1357),(-0.0966,-0.1357),(-0.0966,-0.1313),(-0.0979,-0.1313),(-0.0979,-0.1357),(-0.0991,-0.1357),(-0.0991,-0.1313),(-0.1004,-0.1313),(-0.1004,-0.1357)],
  [(-0.0891,-0.1325),(-0.0891,-0.1332),(-0.0885,-0.1332),(-0.0885,-0.1338),(-0.0879,-0.1338),(-0.0879,-0.1357),(-0.0885,-0.1357),(-0.0885,-0.1363),(-0.0891,-0.1363),(-0.0891,-0.1369),(-0.0897,-0.1369),(-0.0897,-0.1382),(-0.0885,-0.1382),(-0.0885,-0.1369),(-0.0879,-0.1369),(-0.0879,-0.1363),(-0.0866,-0.1363),(-0.0866,-0.1369),(-0.086,-0.1369),(-0.086,-0.1382),(-0.0847,-0.1382),(-0.0847,-0.1369),(-0.0854,-0.1369),(-0.0854,-0.1363),(-0.086,-0.1363),(-0.086,-0.1357),(-0.0866,-0.1357),(-0.0866,-0.1338),(-0.086,-0.1338),(-0.086,-0.1332),(-0.0854,-0.1332),(-0.0854,-0.1325),(-0.0847,-0.1325),(-0.0847,-0.1313),(-0.086,-0.1313),(-0.086,-0.1325),(-0.0866,-0.1325),(-0.0866,-0.1332),(-0.0879,-0.1332),(-0.0879,-0.1325),(-0.0885,-0.1325),(-0.0885,-0.1313),(-0.0897,-0.1313),(-0.0897,-0.1325)],
  [(-0.0829,-0.1325),(-0.0835,-0.1325),(-0.0835,-0.1332),(-0.0822,-0.1332),(-0.0822,-0.1375),(-0.0835,-0.1375),(-0.0835,-0.1382),(-0.0797,-0.1382),(-0.0797,-0.1375),(-0.081,-0.1375),(-0.081,-0.1313),(-0.0822,-0.1313),(-0.0822,-0.1319),(-0.0829,-0.1319)],
  [(0.1696,-0.1382),(0.1696,-0.135),(0.1702,-0.135),(0.1702,-0.1357),(0.1708,-0.1357),(0.1708,-0.1369),(0.1715,-0.1369),(0.1715,-0.1382),(0.1727,-0.1382),(0.1727,-0.1313),(0.1715,-0.1313),(0.1715,-0.1344),(0.1708,-0.1344),(0.1708,-0.1338),(0.1702,-0.1338),(0.1702,-0.1325),(0.1696,-0.1325),(0.1696,-0.1313),(0.1683,-0.1313),(0.1683,-0.1382)],
  [(0.1758,-0.1382),(0.1758,-0.135),(0.1771,-0.135),(0.1771,-0.1382),(0.1783,-0.1382),(0.1783,-0.1325),(0.1777,-0.1325),(0.1777,-0.1319),(0.1771,-0.1319),(0.1771,-0.1313),(0.1758,-0.1313),(0.1758,-0.1319),(0.1752,-0.1319),(0.1752,-0.1325),(0.1746,-0.1325),(0.1746,-0.1344),(0.1758,-0.1344),(0.1758,-0.1325),(0.1771,-0.1325),(0.1771,-0.1344),(0.1758,-0.1344),(0.1746,-0.1344),(0.1746,-0.1382)],
  [(0.1808,-0.1382),(0.1808,-0.135),(0.1815,-0.135),(0.1815,-0.1357),(0.1821,-0.1357),(0.1821,-0.1369),(0.1827,-0.1369),(0.1827,-0.1382),(0.184,-0.1382),(0.184,-0.1313),(0.1827,-0.1313),(0.1827,-0.1344),(0.1821,-0.1344),(0.1821,-0.1338),(0.1815,-0.1338),(0.1815,-0.1325),(0.1808,-0.1325),(0.1808,-0.1313),(0.1796,-0.1313),(0.1796,-0.1382)],
  [(0.189,-0.1369),(0.1896,-0.1369),(0.1896,-0.1325),(0.189,-0.1325),(0.189,-0.1319),(0.1883,-0.1319),(0.1883,-0.1313),(0.1858,-0.1313),(0.1858,-0.1375),(0.1871,-0.1375),(0.1871,-0.1319),(0.1877,-0.1319),(0.1877,-0.1325),(0.1883,-0.1325),(0.1883,-0.1369),(0.1877,-0.1369),(0.1877,-0.1375),(0.1871,-0.1375),(0.1858,-0.1375),(0.1858,-0.1382),(0.1883,-0.1382),(0.1883,-0.1375),(0.189,-0.1375)],
  [(0.1915,-0.1332),(0.1927,-0.1332),(0.1927,-0.1319),(0.194,-0.1319),(0.194,-0.1344),(0.1933,-0.1344),(0.1933,-0.135),(0.1927,-0.135),(0.1927,-0.1357),(0.1921,-0.1357),(0.1921,-0.1363),(0.1915,-0.1363),(0.1915,-0.1382),(0.1952,-0.1382),(0.1952,-0.1375),(0.1927,-0.1375),(0.1927,-0.1363),(0.1933,-0.1363),(0.1933,-0.1357),(0.194,-0.1357),(0.194,-0.135),(0.1946,-0.135),(0.1946,-0.1344),(0.1952,-0.1344),(0.1952,-0.1319),(0.1946,-0.1319),(0.1946,-0.1313),(0.1921,-0.1313),(0.1921,-0.1319),(0.1915,-0.1319)],
  [(0.2027,-0.1325),(0.2027,-0.1332),(0.2033,-0.1332),(0.2033,-0.1338),(0.204,-0.1338),(0.204,-0.1357),(0.2033,-0.1357),(0.2033,-0.1363),(0.2027,-0.1363),(0.2027,-0.1369),(0.2021,-0.1369),(0.2021,-0.1382),(0.2033,-0.1382),(0.2033,-0.1369),(0.204,-0.1369),(0.204,-0.1363),(0.2052,-0.1363),(0.2052,-0.1369),(0.2058,-0.1369),(0.2058,-0.1382),(0.2071,-0.1382),(0.2071,-0.1369),(0.2065,-0.1369),(0.2065,-0.1363),(0.2058,-0.1363),(0.2058,-0.1357),(0.2052,-0.1357),(0.2052,-0.1338),(0.2058,-0.1338),(0.2058,-0.1332),(0.2065,-0.1332),(0.2065,-0.1325),(0.2071,-0.1325),(0.2071,-0.1313),(0.2058,-0.1313),(0.2058,-0.1325),(0.2052,-0.1325),(0.2052,-0.1332),(0.204,-0.1332),(0.204,-0.1325),(0.2033,-0.1325),(0.2033,-0.1313),(0.2021,-0.1313),(0.2021,-0.1325)],
  [(0.2115,-0.1382),(0.2115,-0.1357),(0.2121,-0.1357),(0.2121,-0.135),(0.2115,-0.135),(0.2115,-0.1313),(0.2102,-0.1313),(0.2102,-0.1319),(0.2096,-0.1319),(0.2096,-0.1325),(0.209,-0.1325),(0.209,-0.1332),(0.2083,-0.1332),(0.2083,-0.1338),(0.2077,-0.1338),(0.2077,-0.135),(0.209,-0.135),(0.209,-0.1338),(0.2096,-0.1338),(0.2096,-0.1332),(0.2102,-0.1332),(0.2102,-0.135),(0.209,-0.135),(0.2077,-0.135),(0.2077,-0.1357),(0.2102,-0.1357),(0.2102,-0.1382)])
top.add(gdstk.Reference(inv_x1, (-0.0314,-0.0945)))
top.add(gdstk.Reference(nand2_x4, (0.2018,-0.0945)))

lib.write_gds('TOP.gds')
